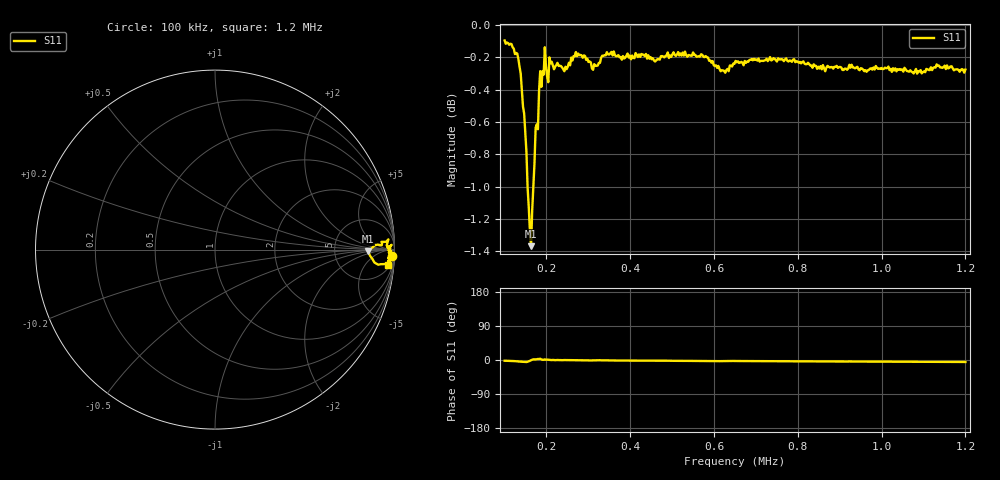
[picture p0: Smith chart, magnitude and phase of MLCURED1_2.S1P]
!Agilent Technologies,E5071C,MY46100265,A.07.02
!Date: Wed Mar 04 14:48:16 2020
!Data & Calibration Information:
!Freq	S11:SOLT1(ON)
# Hz S MA R 50
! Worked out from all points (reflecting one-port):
!   402 points, 100 kHz to 1.2 MHz, reference 50 ohm
!   lowest |S11| = -1.4 dB at 163.1 kHz (marker M1), VSWR 12.72, Z = 633 - j41.7 ohm
!   phase of S11 starts at -2 deg and turns -3 deg over the sweep
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100000  0.9889 -2.0
132918  0.9758 -3.9
146633  0.9388 -4.9
154863  0.8909 -4.6
160349  0.8639 -2.2
163092  0.8542 -0.6
165835  0.8763 0.7
171322  0.9062 1.7
179551  0.9284 2.7
190524  0.9676 0.6
193267  0.9652 0.5
201496  0.9639 1.0
215212  0.9715 0.2
239900  0.9689 -0.3
256359  0.9716 -0.2
275561  0.9797 -0.6
300249  0.9739 -1.1
313965  0.9724 -0.9
338653  0.9786 -0.9
377057  0.9774 -1.4
514214  0.9808 -2.1
596509  0.9745 -2.9
621197  0.968 -2.7
651372  0.9746 -2.6
788529  0.9755 -3.6
925686  0.9699 -4.0
1062843  0.9675 -4.5
1200000  0.9686 -5.2
